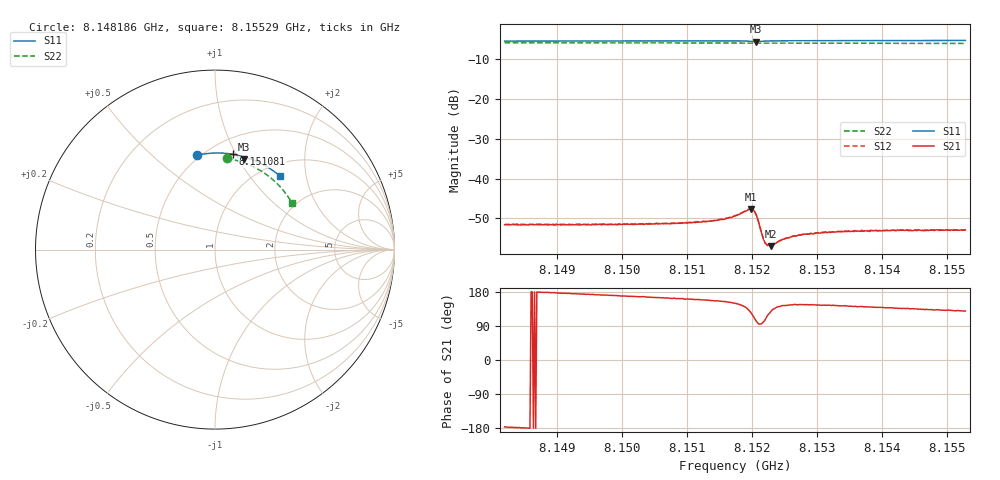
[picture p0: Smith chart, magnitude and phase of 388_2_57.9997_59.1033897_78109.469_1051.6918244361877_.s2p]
#  HZ  S  RI  R  50.00
! Rohde & Schwarz Vector Network Analyzer
! Rohde-Schwarz,ZNB20-2Port,1311601062101988,3.16
! Created: UTC 3/21/2024, 1:07:43 AM
! freq[Hz]  re:S11  im:S11  re:S21  im:S21  re:S12  im:S12  re:S22  im:S22
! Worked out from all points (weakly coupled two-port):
!   401 points, 8.148186 GHz to 8.15529 GHz, reference 50 ohm
!   highest |S21| = -47.68 dB at 8.151987 GHz (marker M1); lowest = -57.0 dB at 8.152289 GHz (marker M2)
!   lowest |S11| = -5.5 dB at 8.152058 GHz (marker M3), VSWR 3.25, Z = 37.7 + j52.7 ohm
!   |S11| at or under -10 dB: nowhere
!   |S22| runs from -6.0 to -5.8 dB; largest |S21 - S12| = 0.00012
!   S11 on the Smith chart (normalised r, x): 8.148186 GHz: 0.48, +0.71; 8.151081 GHz: 0.65, +0.98; 8.15529 GHz: 1.21, +1.42
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8.1481858e9  -0.0991 0.5264  -0.00262 -0.000163  -0.00265 -7.79e-05  0.0659 0.5076
8.1493758e9  -0.0169 0.5373  -0.00259 0.000274  -0.00264 0.000367  0.1412 0.4905
8.1505658e9  0.0659 0.5355  -0.00262 0.000722  -0.0026 0.000776  0.2124 0.4625
8.1510809e9  0.1018 0.5308  -0.00262 0.000944  -0.00263 0.000992  0.2416 0.447
8.1513829e9  0.1229 0.5266  -0.0027 0.00117  -0.00266 0.00122  0.2582 0.4371
8.1515782e9  0.1368 0.523  -0.00278 0.00134  -0.00282 0.00144  0.2686 0.4302
8.1517381e9  0.1485 0.5193  -0.00292 0.0017  -0.00294 0.00176  0.2772 0.4246
8.1519335e9  0.1625 0.5105  -0.00279 0.00286  -0.00282 0.00296  0.2873 0.4172
8.1519867e9  0.1641 0.5064  -0.00232 0.00342  -0.00229 0.00348  0.2899 0.415
8.1520223e9  0.1636 0.5041  -0.00169 0.00364  -0.00163 0.00367  0.2915 0.4138
8.1520578e9  0.1622 0.5035  -0.000926 0.00348  -0.000857 0.0035  0.2932 0.4124
8.1520933e9  0.1615 0.5047  -0.000358 0.00297  -0.000314 0.00299  0.2949 0.4113
8.1521644e9  0.1647 0.5086  -0.000269 0.00183  -0.000232 0.00187  0.2984 0.4088
8.1521999e9  0.1676 0.5098  -0.000418 0.00149  -0.00042 0.0015  0.3004 0.4075
8.1522354e9  0.1706 0.5102  -0.000646 0.00129  -0.000617 0.0013  0.3021 0.406
8.1522887e9  0.1753 0.5101  -0.000867 0.00113  -0.000848 0.00113  0.3049 0.404
8.1524841e9  0.1902 0.5071  -0.00139 0.00102  -0.00141 0.00104  0.3146 0.3963
8.1526262e9  0.2002 0.5037  -0.00153 0.00105  -0.00154 0.00109  0.3214 0.3905
8.1529281e9  0.2205 0.4963  -0.00169 0.00113  -0.00166 0.00118  0.3355 0.3775
8.1534254e9  0.2523 0.4818  -0.00173 0.00129  -0.00176 0.00134  0.358 0.3553
8.1541181e9  0.2943 0.4588  -0.00164 0.00149  -0.00166 0.00151  0.3863 0.3224
8.1552904e9  0.3599 0.4114  -0.00143 0.00175  -0.00138 0.00176  0.4273 0.2619
